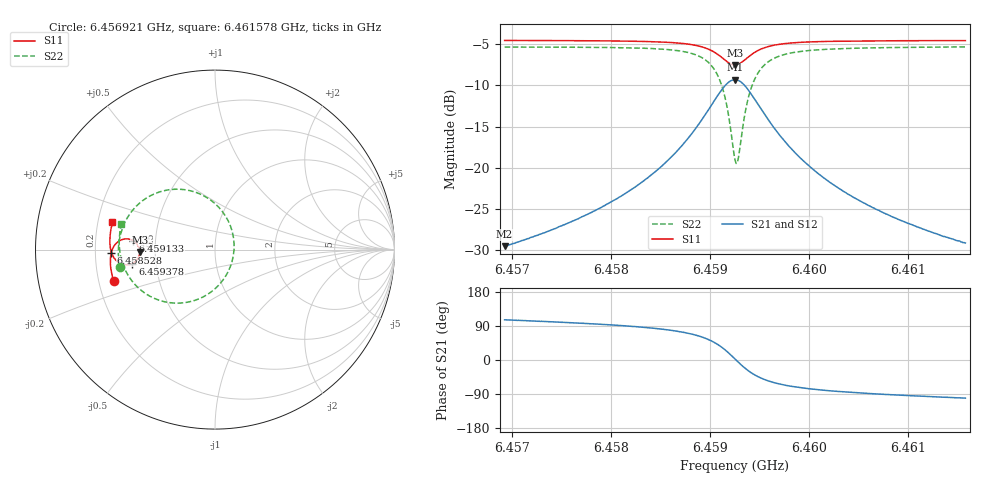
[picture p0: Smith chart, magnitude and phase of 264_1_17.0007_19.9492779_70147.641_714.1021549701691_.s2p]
#  HZ  S  RI  R  50.00
! Rohde & Schwarz Vector Network Analyzer
! Rohde-Schwarz,ZNB20-2Port,1311601062101988,3.16
! Created: UTC 3/20/2024, 11:03:54 PM
! freq[Hz]  re:S11  im:S11  re:S21  im:S21  re:S12  im:S12  re:S22  im:S22
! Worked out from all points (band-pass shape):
!   401 points, 6.456921 GHz to 6.461578 GHz, reference 50 ohm
!   highest |S21| = -9.31 dB at 6.45925 GHz (marker M1); lowest = -29.5 dB at 6.456921 GHz (marker M2)
!   |S21| within 3 dB of the highest: 6.459017 GHz to 6.459482 GHz (465.5 kHz wide, 0.00721 % of centre)
!   lowest |S11| = -7.5 dB at 6.45925 GHz (marker M3), VSWR 2.45, Z = 20.4 - j0.62 ohm
!   |S11| at or under -10 dB: nowhere
!   |S22| runs from -19.5 to -5.3 dB; largest |S21 - S12| = 0.013
!   S11 on the Smith chart (normalised r, x): 6.456921 GHz: 0.26, -0.14; 6.458528 GHz: 0.27, -0.01; 6.459133 GHz: 0.37, +0.05; 6.459378 GHz: 0.37, -0.07; 6.461578 GHz: 0.26, +0.12
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6.4569211e9  -0.5651 -0.1773  -0.00922 0.0321  -0.00745 0.032  -0.5315 -0.0943
6.4577011e9  -0.5797 -0.1093  -0.00611 0.05  -0.0035 0.0493  -0.5383 -0.00362
6.4581203e9  -0.5831 -0.0677  -0.000519 0.0686  0.00273 0.0673  -0.5316 0.062
6.4584812e9  -0.5798 -0.0249  0.0133 0.098  0.0173 0.0954  -0.5065 0.1424
6.4585277e9  -0.5784 -0.0186  0.0165 0.1035  0.0208 0.1004  -0.5002 0.1554
6.4587489e9  -0.5653 0.0152  0.0446 0.1371  0.0488 0.1323  -0.448 0.2319
6.4589003e9  -0.543 0.0416  0.0894 0.1679  0.0926 0.1611  -0.3655 0.2969
6.45904e9  -0.4997 0.0594  0.1758 0.1846  0.1768 0.1774  -0.2075 0.3365
6.4591332e9  -0.4554 0.0496  0.2653 0.1542  0.2655 0.1484  -0.0417 0.2876
6.4591797e9  -0.4343 0.0311  0.3088 0.1119  0.3101 0.1066  0.041 0.2123
6.4592496e9  -0.4195 -0.0125  0.3422 0.0159  0.3459 0.00893  0.1062 0.034
6.4592612e9  -0.42 -0.0205  0.3421 -0.0018  0.3459 -0.00929  0.1061 0.000541
6.4592845e9  -0.4234 -0.0359  0.3367 -0.0362  0.3405 -0.0453  0.0953 -0.0649
6.4593311e9  -0.4387 -0.0617  0.3086 -0.0957  0.3108 -0.1075  0.0386 -0.1772
6.4593776e9  -0.4606 -0.0778  0.2671 -0.1365  0.2663 -0.1497  -0.0453 -0.2519
6.4594708e9  -0.5036 -0.0846  0.1833 -0.1679  0.1772 -0.1793  -0.2125 -0.2984
6.4596221e9  -0.5469 -0.0642  0.0962 -0.1546  0.0879 -0.1608  -0.379 -0.2502
6.4597851e9  -0.5684 -0.0366  0.0516 -0.1273  0.044 -0.13  -0.4594 -0.1787
6.4600296e9  -0.5811 -0.00103  0.0225 -0.0961  0.0168 -0.0967  -0.5074 -0.097
6.4603789e9  -0.5856 0.0401  0.00648 -0.0697  0.00252 -0.0693  -0.5291 -0.0179
6.4608097e9  -0.5838 0.0833  -0.00118 -0.0514  -0.00406 -0.0506  -0.5336 0.0504
6.4615781e9  -0.5715 0.151  -0.00643 -0.0343  -0.00814 -0.0333  -0.5225 0.1408
